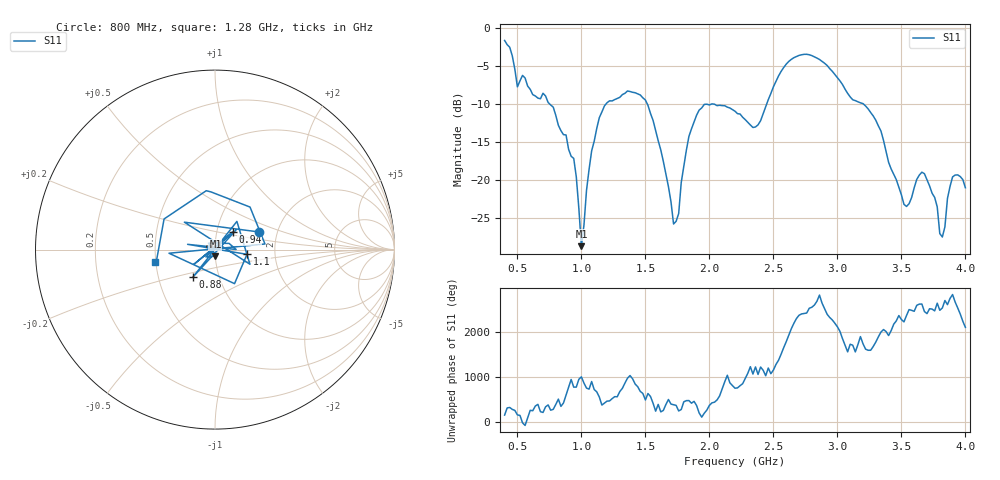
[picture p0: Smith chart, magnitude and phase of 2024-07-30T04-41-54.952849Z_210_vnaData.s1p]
!Created with skrf (http://scikit-rf.org).
# Hz S RI R 50.0
!freq ReS11 ImS11
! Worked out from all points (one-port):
!   181 points, 400 MHz to 4 GHz, reference 50 ohm
!   lowest |S11| = -28.7 dB at 1 GHz (marker M1), VSWR 1.08, Z = 50.1 - j3.68 ohm
!   |S11| at or under -10 dB: 752 MHz to 1.192 GHz (440.5 MHz wide, 45.3 % of centre); 1.515 GHz to 2.018 GHz (503 MHz wide, 28.5 % of centre); 3.203 GHz to end of sweep (the widest 3 of 4)
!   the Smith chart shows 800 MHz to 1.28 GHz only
!   S11 on the Smith chart (normalised r, x): 800 MHz: 1.61, +0.34; 880 MHz: 0.75, -0.24; 940 MHz: 1.19, +0.24; 1.1 GHz: 1.43, -0.08; 1.28 GHz: 0.49, -0.08
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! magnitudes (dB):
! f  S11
! 400 MHz  -1.7
! 500 MHz  -7.8
! 800 MHz  -11.5
! 860 MHz  -14.0
! 880 MHz  -14.1
! 940 MHz  -17.2
! 1 GHz  -28.7
! 1.1 GHz  -14.9
! 1.18 GHz  -10.3
! 1.28 GHz  -9.3
! 1.3 GHz  -9.1
! 1.5 GHz  -9.5
! 1.62 GHz  -16.0
! 1.72 GHz  -25.8
! 1.76 GHz  -24.4
! 1.84 GHz  -14.3
! 1.92 GHz  -10.8
! 2.2 GHz  -11.0
! 2.38 GHz  -12.7
! 2.66 GHz  -3.9
! 2.86 GHz  -4.2
! 3.1 GHz  -9.1
! 3.3 GHz  -12.1
! 3.56 GHz  -23.1
! 3.68 GHz  -19.2
! 3.82 GHz  -27.5
! 3.9 GHz  -19.6
! 4 GHz  -21.0
